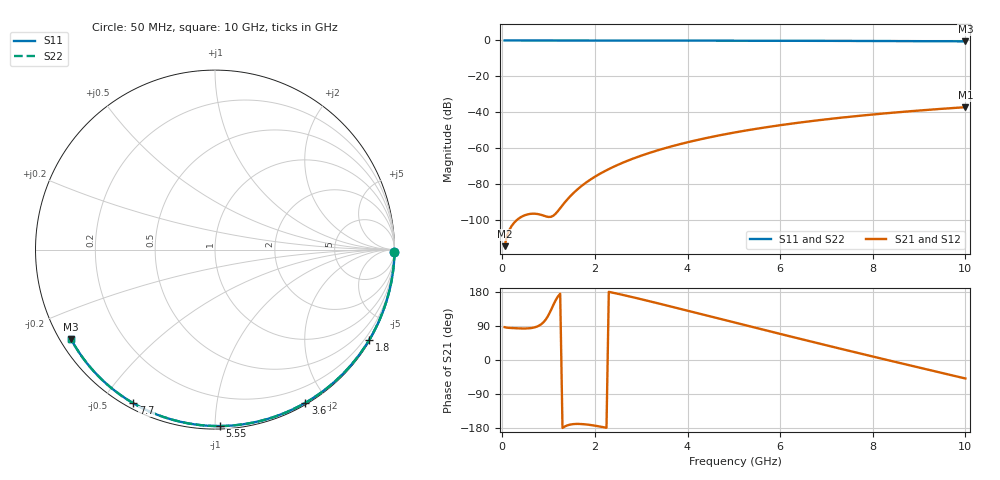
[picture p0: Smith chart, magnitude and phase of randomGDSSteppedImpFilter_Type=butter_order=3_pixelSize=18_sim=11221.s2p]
! freq	dB(S11)	phase(S11)	dB(S12)	phase(S12)
!  dB(S21)	phase(S21)	dB(S22)	phase(S22)
!S-par simulation data
#  GHz  S  DB  R 50
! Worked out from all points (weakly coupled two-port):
!   200 points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, 50 MHz to 10 GHz, reference 50 ohm
!   highest |S21| = -37.19 dB at 10 GHz (marker M1); lowest = -114.6 dB at 50 MHz (marker M2)
!   lowest |S11| = -0.5 dB at 10 GHz (marker M3), VSWR 35.18, Z = 1.54 - j14.3 ohm
!   |S11| at or under -10 dB: nowhere
!   |S22| runs from -0.5 to 0.0 dB; largest |S21 - S12| = 0
!   S11 on the Smith chart (normalised r, x): 50 MHz: open; 1.8 GHz: 0.03, -3.67; 3.6 GHz: 0.02, -1.75; 5.55 GHz: 0.02, -1.03; 7.7 GHz: 0.02, -0.60; 10 GHz: 0.03, -0.29
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0.05  -0.00 -0.9  -114.64 86.7  -114.64 86.7  -0.00 -0.9
0.45  -0.01 -7.7  -97.80 83.2  -97.80 83.2  -0.01 -7.7
0.9  -0.02 -15.4  -97.69 100.9  -97.69 100.9  -0.02 -15.4
1.3  -0.03 -22.1  -91.82 -179.4  -91.82 -179.4  -0.03 -22.1
1.75  -0.04 -29.7  -80.32 -169.4  -80.32 -169.4  -0.04 -29.7
1.8  -0.04 -30.5  -79.36 -169.9  -79.36 -169.9  -0.04 -30.5
1.95  -0.04 -33.0  -76.74 -172.3  -76.74 -172.3  -0.04 -33.0
2.1  -0.04 -35.4  -74.43 -175.4  -74.43 -175.4  -0.04 -35.4
2.3  -0.05 -38.7  -71.68 179.9  -71.68 179.9  -0.05 -38.7
2.5  -0.05 -42.0  -69.26 174.6  -69.26 174.6  -0.05 -42.0
2.9  -0.06 -48.4  -65.11 163.3  -65.11 163.3  -0.06 -48.4
3.4  -0.07 -56.3  -60.88 148.4  -60.88 148.4  -0.07 -56.3
3.6  -0.08 -59.4  -59.40 142.4  -59.40 142.4  -0.08 -59.4
4.3  -0.10 -70.1  -54.96 120.9  -54.96 120.9  -0.10 -70.1
5.05  -0.12 -81.2  -51.13 97.9  -51.13 97.9  -0.12 -81.2
5.55  -0.14 -88.5  -48.96 82.6  -48.96 82.6  -0.14 -88.5
6.1  -0.17 -96.2  -46.86 65.8  -46.86 65.8  -0.17 -96.2
6.7  -0.20 -104.5  -44.85 47.7  -44.85 47.7  -0.20 -104.5
7.7  -0.27 -117.9  -42.01 18.0  -42.01 18.0  -0.27 -117.9
8.35  -0.32 -126.5  -40.44 -1.1  -40.44 -1.1  -0.32 -126.5
9.2  -0.40 -137.6  -38.65 -25.7  -38.65 -25.7  -0.40 -137.6
10  -0.49 -148.1  -37.19 -48.8  -37.19 -48.8  -0.49 -148.1
